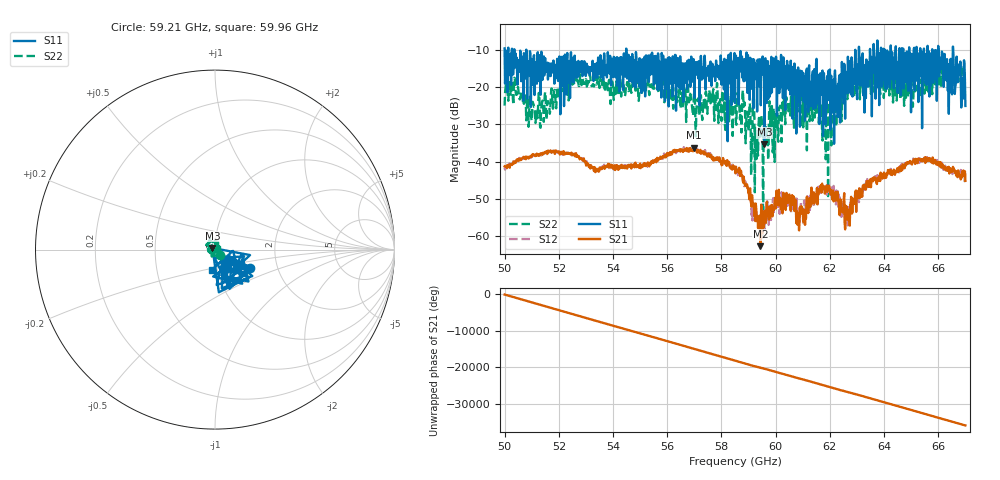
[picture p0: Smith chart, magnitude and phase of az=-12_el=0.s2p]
!Created with skrf (http://scikit-rf.org).
# GHz S RI R 50.0
!freq ReS11 ImS11 ReS21 ImS21 ReS12 ImS12 ReS22 ImS22
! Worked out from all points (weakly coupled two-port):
!   1001 points, 50 GHz to 67 GHz, reference 50 ohm
!   highest |S21| = -36.23 dB at 56.99 GHz (marker M1); lowest = -62.7 dB at 59.44 GHz (marker M2)
!   lowest |S11| = -35.3 dB at 59.59 GHz (marker M3), VSWR 1.03, Z = 48.6 + j0.889 ohm
!   |S11| at or under -10 dB: 50.8 GHz to 54.49 GHz (3.687 GHz wide, 7 % of centre); 54.49 GHz to 62.94 GHz (8.447 GHz wide, 14.4 % of centre); 66.01 GHz to 66.54 GHz (530.7 MHz wide, 0.801 % of centre) (the widest 3 of 28)
!   |S22| runs from -57.8 to -14.0 dB; largest |S21 - S12| = 0.0021
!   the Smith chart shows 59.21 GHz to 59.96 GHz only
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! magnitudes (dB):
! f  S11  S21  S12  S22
! 50 GHz  -9.6  -41.3  -41.6  -25.0
! 50.42 GHz  -13.3  -39.9  -39.4  -22.0
! 51.38 GHz  -16.4  -37.9  -38.0  -24.5
! 52.84 GHz  -13.9  -39.2  -39.0  -19.5
! 55.68 GHz  -13.4  -39.3  -39.3  -21.6
! 56.99 GHz  -15.0  -36.2  -36.6  -21.6
! 57.62 GHz  -15.9  -38.3  -38.2  -21.5
! 58.5 GHz  -24.3  -42.1  -41.9  -24.5
! 58.79 GHz  -14.0  -45.2  -45.0  -20.8
! 59.3 GHz  -15.6  -55.6  -53.6  -39.2
! 59.44 GHz  -12.6  -62.7  -56.6  -30.9
! 59.59 GHz  -35.3  -53.3  -58.3  -30.2
! 60.34 GHz  -14.3  -50.7  -49.6  -25.2
! 60.85 GHz  -19.8  -54.6  -53.1  -21.4
! 61.34 GHz  -25.0  -51.3  -49.4  -26.4
! 62 GHz  -15.3  -47.3  -46.8  -25.3
! 62.65 GHz  -21.6  -55.4  -53.2  -23.3
! 64.18 GHz  -17.5  -42.8  -43.2  -18.8
! 66.08 GHz  -15.0  -40.1  -40.9  -15.6
! 66.42 GHz  -15.5  -42.2  -42.7  -16.3
! 66.75 GHz  -16.6  -42.9  -42.4  -18.3
! 67 GHz  -25.1  -45.2  -43.1  -15.6
